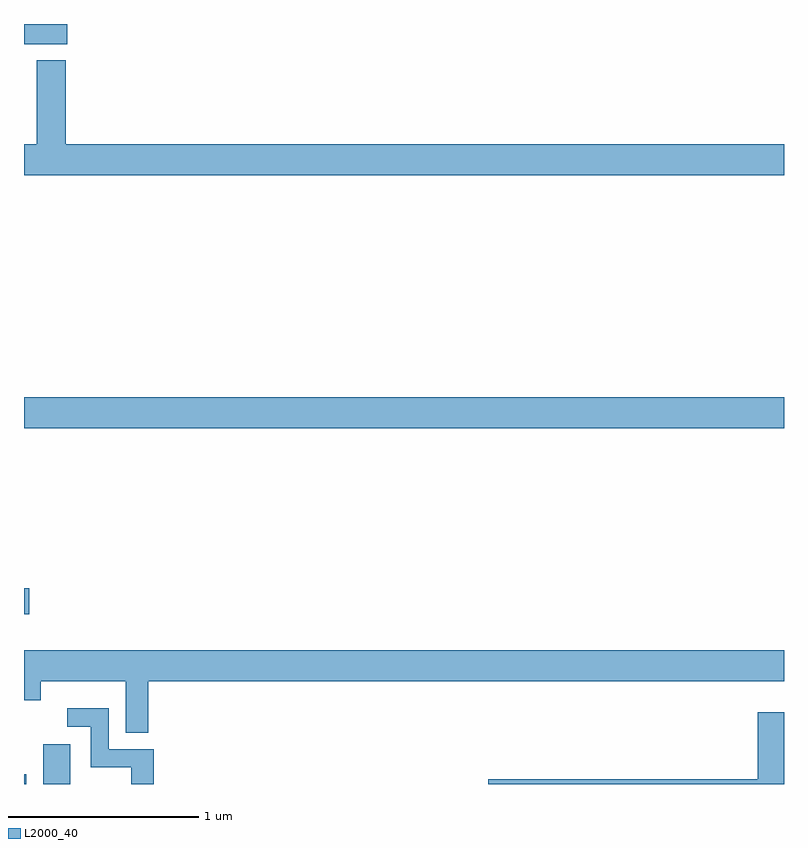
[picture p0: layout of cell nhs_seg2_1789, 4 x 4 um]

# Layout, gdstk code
import gdstk
lib = gdstk.Library(unit=1e-6, precision=1e-09)
def R(c, l, rs):  # rectangles x0, y0, x1, y1
    for r in rs: c.add(gdstk.rectangle(r[:2], r[2:], *l))
def P(c, l, *ps):  # polygons
    for p in ps: c.add(gdstk.Polygon(p, *l))
L2000_40 = (2000, 40)

nhs_seg2_1789 = lib.new_cell('nhs_seg2_1789')
R(nhs_seg2_1789, L2000_40, [(205,609.8,205.012,609.852), (205.1,609.8,205.243,610.009), (205,610.694,205.027,610.829), (205,611.672,209,611.836), (205,613.694,205.228,613.8)])
P(nhs_seg2_1789, L2000_40, [(209,613.168),(205.22,613.168),(205.22,613.609),(205.067,613.609),(205.067,613.168),(205,613.168),(205,613.004),(209,613.004)],
  [(205.654,610.34),(209,610.34),(209,610.504),(205,610.504),(205,610.241),(205.089,610.241),(205.089,610.34),(205.535,610.34),(205.535,610.069),(205.654,610.069)],
  [(205.684,609.984),(205.446,609.984),(205.446,610.198),(205.227,610.198),(205.227,610.101),(205.35,610.101),(205.35,609.888),(205.565,609.888),(205.565,609.8),(205.684,609.8)],
  [(209,610.177),(208.862,610.177),(208.862,609.824),(207.443,609.824),(207.443,609.8),(209,609.8)])

lib.write_gds('nhs_seg2_1789.gds')
